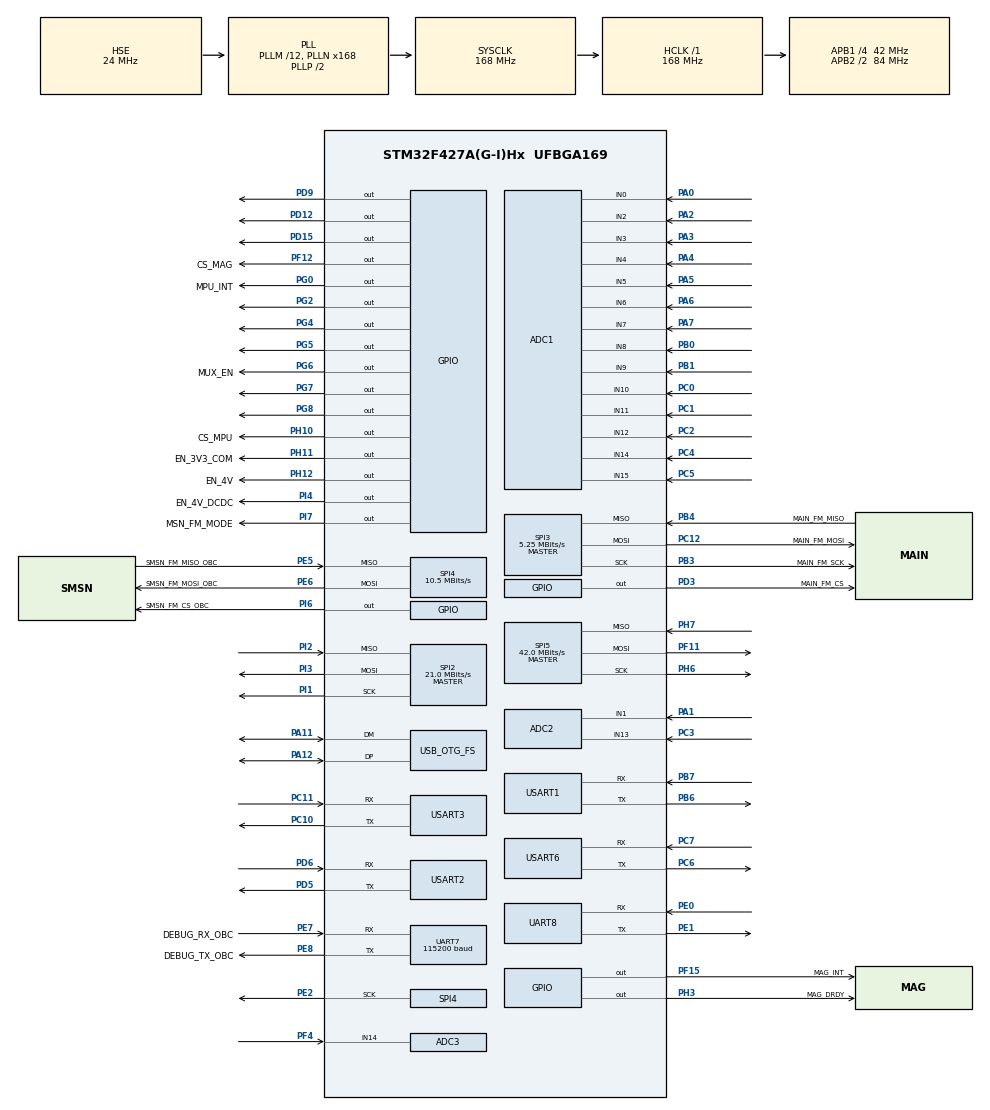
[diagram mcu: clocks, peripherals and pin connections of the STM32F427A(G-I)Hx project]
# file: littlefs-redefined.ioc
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ADC1.Channel-0\#ChannelRegularConversion=ADC_CHANNEL_0
ADC1.NbrOfConversionFlag=1
ADC1.Rank-0\#ChannelRegularConversion=1
ADC1.SamplingTime-0\#ChannelRegularConversion=ADC_SAMPLETIME_3CYCLES
ADC1.master=1
ADC2.Channel-0\#ChannelRegularConversion=ADC_CHANNEL_3
ADC2.NbrOfConversionFlag=1
ADC2.Rank-0\#ChannelRegularConversion=1
ADC2.SamplingTime-0\#ChannelRegularConversion=ADC_SAMPLETIME_3CYCLES
ADC3.Channel-0\#ChannelRegularConversion=ADC_CHANNEL_14
ADC3.NbrOfConversionFlag=1
ADC3.Rank-0\#ChannelRegularConversion=1
ADC3.SamplingTime-0\#ChannelRegularConversion=ADC_SAMPLETIME_3CYCLES
Dma.ADC1.3.Direction=DMA_PERIPH_TO_MEMORY
Dma.ADC1.3.FIFOMode=DMA_FIFOMODE_DISABLE
Dma.ADC1.3.Instance=DMA2_Stream4
Dma.ADC1.3.MemDataAlignment=DMA_MDATAALIGN_HALFWORD
Dma.ADC1.3.MemInc=DMA_MINC_ENABLE
Dma.ADC1.3.Mode=DMA_NORMAL
Dma.ADC1.3.PeriphDataAlignment=DMA_PDATAALIGN_HALFWORD
Dma.ADC1.3.PeriphInc=DMA_PINC_DISABLE
Dma.ADC1.3.Priority=DMA_PRIORITY_LOW
Dma.ADC2.2.Direction=DMA_PERIPH_TO_MEMORY
Dma.ADC2.2.FIFOMode=DMA_FIFOMODE_DISABLE
Dma.ADC2.2.Instance=DMA2_Stream2
Dma.ADC2.2.MemDataAlignment=DMA_MDATAALIGN_HALFWORD
Dma.ADC2.2.MemInc=DMA_MINC_ENABLE
Dma.ADC2.2.Mode=DMA_NORMAL
Dma.ADC2.2.PeriphDataAlignment=DMA_PDATAALIGN_HALFWORD
Dma.ADC2.2.PeriphInc=DMA_PINC_DISABLE
Dma.ADC2.2.Priority=DMA_PRIORITY_LOW
Dma.ADC3.4.Direction=DMA_PERIPH_TO_MEMORY
Dma.ADC3.4.FIFOMode=DMA_FIFOMODE_DISABLE
Dma.ADC3.4.Instance=DMA2_Stream0
Dma.ADC3.4.MemDataAlignment=DMA_MDATAALIGN_HALFWORD
Dma.ADC3.4.MemInc=DMA_MINC_ENABLE
Dma.ADC3.4.Mode=DMA_NORMAL
Dma.ADC3.4.PeriphDataAlignment=DMA_PDATAALIGN_HALFWORD
Dma.ADC3.4.PeriphInc=DMA_PINC_DISABLE
Dma.ADC3.4.Priority=DMA_PRIORITY_LOW
Dma.Request0=TIM6_UP
Dma.Request1=TIM7_UP
Dma.Request10=SPI3_RX
Dma.Request11=SPI3_TX
Dma.Request12=USART6_TX
Dma.Request13=USART1_RX
Dma.Request14=USART1_TX
Dma.Request15=USART2_RX
Dma.Request2=ADC2
Dma.Request3=ADC1
Dma.Request4=ADC3
Dma.Request5=UART8_RX
Dma.Request6=UART8_TX
Dma.Request7=UART7_RX
Dma.Request8=SPI4_RX
Dma.Request9=SPI4_TX
Dma.SPI3_RX.10.Direction=DMA_PERIPH_TO_MEMORY
Dma.SPI3_RX.10.FIFOMode=DMA_FIFOMODE_DISABLE
Dma.SPI3_RX.10.Instance=DMA1_Stream2
Dma.SPI3_RX.10.MemDataAlignment=DMA_MDATAALIGN_BYTE
Dma.SPI3_RX.10.MemInc=DMA_MINC_ENABLE
Dma.SPI3_RX.10.Mode=DMA_NORMAL
Dma.SPI3_RX.10.PeriphDataAlignment=DMA_PDATAALIGN_BYTE
Dma.SPI3_RX.10.PeriphInc=DMA_PINC_DISABLE
Dma.SPI3_RX.10.Priority=DMA_PRIORITY_LOW
Dma.SPI3_TX.11.Direction=DMA_MEMORY_TO_PERIPH
Dma.SPI3_TX.11.FIFOMode=DMA_FIFOMODE_DISABLE
Dma.SPI3_TX.11.Instance=DMA1_Stream7
Dma.SPI3_TX.11.MemDataAlignment=DMA_MDATAALIGN_BYTE
Dma.SPI3_TX.11.MemInc=DMA_MINC_ENABLE
Dma.SPI3_TX.11.Mode=DMA_NORMAL
Dma.SPI3_TX.11.PeriphDataAlignment=DMA_PDATAALIGN_BYTE
Dma.SPI3_TX.11.PeriphInc=DMA_PINC_DISABLE
Dma.SPI3_TX.11.Priority=DMA_PRIORITY_LOW
Dma.SPI4_RX.8.Direction=DMA_PERIPH_TO_MEMORY
Dma.SPI4_RX.8.FIFOMode=DMA_FIFOMODE_DISABLE
Dma.SPI4_RX.8.Instance=DMA2_Stream3
Dma.SPI4_RX.8.MemDataAlignment=DMA_MDATAALIGN_BYTE
Dma.SPI4_RX.8.MemInc=DMA_MINC_ENABLE
Dma.SPI4_RX.8.Mode=DMA_NORMAL
Dma.SPI4_RX.8.PeriphDataAlignment=DMA_PDATAALIGN_BYTE
Dma.SPI4_RX.8.PeriphInc=DMA_PINC_DISABLE
Dma.SPI4_RX.8.Priority=DMA_PRIORITY_LOW
Dma.SPI4_TX.9.Direction=DMA_MEMORY_TO_PERIPH
Dma.SPI4_TX.9.FIFOMode=DMA_FIFOMODE_DISABLE
Dma.SPI4_TX.9.Instance=DMA2_Stream1
Dma.SPI4_TX.9.MemDataAlignment=DMA_MDATAALIGN_BYTE
Dma.SPI4_TX.9.MemInc=DMA_MINC_ENABLE
Dma.SPI4_TX.9.Mode=DMA_NORMAL
Dma.SPI4_TX.9.PeriphDataAlignment=DMA_PDATAALIGN_BYTE
Dma.SPI4_TX.9.PeriphInc=DMA_PINC_DISABLE
Dma.SPI4_TX.9.Priority=DMA_PRIORITY_LOW
Dma.TIM6_UP.0.Direction=DMA_PERIPH_TO_MEMORY
Dma.TIM6_UP.0.FIFOMode=DMA_FIFOMODE_DISABLE
Dma.TIM6_UP.0.Instance=DMA1_Stream1
Dma.TIM6_UP.0.MemDataAlignment=DMA_MDATAALIGN_HALFWORD
Dma.TIM6_UP.0.MemInc=DMA_MINC_ENABLE
Dma.TIM6_UP.0.Mode=DMA_NORMAL
Dma.TIM6_UP.0.PeriphDataAlignment=DMA_PDATAALIGN_HALFWORD
Dma.TIM6_UP.0.PeriphInc=DMA_PINC_DISABLE
Dma.TIM6_UP.0.Priority=DMA_PRIORITY_LOW
Dma.TIM7_UP.1.Direction=DMA_PERIPH_TO_MEMORY
Dma.TIM7_UP.1.FIFOMode=DMA_FIFOMODE_DISABLE
Dma.TIM7_UP.1.Instance=DMA1_Stream4
Dma.TIM7_UP.1.MemDataAlignment=DMA_MDATAALIGN_HALFWORD
Dma.TIM7_UP.1.MemInc=DMA_MINC_ENABLE
Dma.TIM7_UP.1.Mode=DMA_NORMAL
Dma.TIM7_UP.1.PeriphDataAlignment=DMA_PDATAALIGN_HALFWORD
Dma.TIM7_UP.1.PeriphInc=DMA_PINC_DISABLE
Dma.TIM7_UP.1.Priority=DMA_PRIORITY_LOW
Dma.UART7_RX.7.Direction=DMA_PERIPH_TO_MEMORY
Dma.UART7_RX.7.FIFOMode=DMA_FIFOMODE_DISABLE
Dma.UART7_RX.7.Instance=DMA1_Stream3
Dma.UART7_RX.7.MemDataAlignment=DMA_MDATAALIGN_BYTE
Dma.UART7_RX.7.MemInc=DMA_MINC_ENABLE
Dma.UART7_RX.7.Mode=DMA_NORMAL
Dma.UART7_RX.7.PeriphDataAlignment=DMA_PDATAALIGN_BYTE
Dma.UART7_RX.7.PeriphInc=DMA_PINC_DISABLE
Dma.UART7_RX.7.Priority=DMA_PRIORITY_LOW
Dma.UART8_RX.5.Direction=DMA_PERIPH_TO_MEMORY
Dma.UART8_RX.5.FIFOMode=DMA_FIFOMODE_DISABLE
Dma.UART8_RX.5.Instance=DMA1_Stream6
Dma.UART8_RX.5.MemDataAlignment=DMA_MDATAALIGN_BYTE
Dma.UART8_RX.5.MemInc=DMA_MINC_ENABLE
Dma.UART8_RX.5.Mode=DMA_NORMAL
Dma.UART8_RX.5.PeriphDataAlignment=DMA_PDATAALIGN_BYTE
Dma.UART8_RX.5.PeriphInc=DMA_PINC_DISABLE
Dma.UART8_RX.5.Priority=DMA_PRIORITY_LOW
Dma.UART8_TX.6.Direction=DMA_MEMORY_TO_PERIPH
Dma.UART8_TX.6.FIFOMode=DMA_FIFOMODE_DISABLE
Dma.UART8_TX.6.Instance=DMA1_Stream0
Dma.UART8_TX.6.MemDataAlignment=DMA_MDATAALIGN_BYTE
Dma.UART8_TX.6.MemInc=DMA_MINC_ENABLE
Dma.UART8_TX.6.Mode=DMA_NORMAL
Dma.UART8_TX.6.PeriphDataAlignment=DMA_PDATAALIGN_BYTE
Dma.UART8_TX.6.PeriphInc=DMA_PINC_DISABLE
Dma.UART8_TX.6.Priority=DMA_PRIORITY_LOW
Dma.USART1_RX.13.Direction=DMA_PERIPH_TO_MEMORY
Dma.USART1_RX.13.FIFOMode=DMA_FIFOMODE_DISABLE
Dma.USART1_RX.13.Instance=DMA2_Stream5
Dma.USART1_RX.13.MemDataAlignment=DMA_MDATAALIGN_BYTE
Dma.USART1_RX.13.MemInc=DMA_MINC_ENABLE
Dma.USART1_RX.13.Mode=DMA_NORMAL
Dma.USART1_RX.13.PeriphDataAlignment=DMA_PDATAALIGN_BYTE
Dma.USART1_RX.13.PeriphInc=DMA_PINC_DISABLE
Dma.USART1_RX.13.Priority=DMA_PRIORITY_LOW
Dma.USART1_TX.14.Direction=DMA_MEMORY_TO_PERIPH
Dma.USART1_TX.14.FIFOMode=DMA_FIFOMODE_DISABLE
Dma.USART1_TX.14.Instance=DMA2_Stream7
Dma.USART1_TX.14.MemDataAlignment=DMA_MDATAALIGN_BYTE
Dma.USART1_TX.14.MemInc=DMA_MINC_ENABLE
Dma.USART1_TX.14.Mode=DMA_NORMAL
Dma.USART1_TX.14.PeriphDataAlignment=DMA_PDATAALIGN_BYTE
Dma.USART1_TX.14.PeriphInc=DMA_PINC_DISABLE
Dma.USART1_TX.14.Priority=DMA_PRIORITY_LOW
Dma.USART2_RX.15.Direction=DMA_PERIPH_TO_MEMORY
Dma.USART2_RX.15.FIFOMode=DMA_FIFOMODE_DISABLE
Dma.USART2_RX.15.Instance=DMA1_Stream5
Dma.USART2_RX.15.MemDataAlignment=DMA_MDATAALIGN_BYTE
Dma.USART2_RX.15.MemInc=DMA_MINC_ENABLE
Dma.USART2_RX.15.Mode=DMA_NORMAL
Dma.USART2_RX.15.PeriphDataAlignment=DMA_PDATAALIGN_BYTE
Dma.USART2_RX.15.PeriphInc=DMA_PINC_DISABLE
Dma.USART2_RX.15.Priority=DMA_PRIORITY_LOW
Dma.USART6_TX.12.Direction=DMA_MEMORY_TO_PERIPH
Dma.USART6_TX.12.FIFOMode=DMA_FIFOMODE_DISABLE
Dma.USART6_TX.12.Instance=DMA2_Stream6
Dma.USART6_TX.12.MemDataAlignment=DMA_MDATAALIGN_BYTE
Dma.USART6_TX.12.MemInc=DMA_MINC_ENABLE
Dma.USART6_TX.12.Mode=DMA_NORMAL
Dma.USART6_TX.12.PeriphDataAlignment=DMA_PDATAALIGN_BYTE
Dma.USART6_TX.12.PeriphInc=DMA_PINC_DISABLE
Dma.USART6_TX.12.Priority=DMA_PRIORITY_LOW
Mcu.Family=STM32F4
Mcu.Name=STM32F427A(G-I)Hx
Mcu.Package=UFBGA169
NVIC.ADC_IRQn=true\:0\:0\:false\:false\:true\:true\:true
NVIC.DMA1_Stream0_IRQn=true\:0\:0\:false\:false\:true\:false\:true
NVIC.DMA1_Stream1_IRQn=true\:0\:0\:false\:false\:true\:false\:true
NVIC.DMA1_Stream2_IRQn=true\:0\:0\:false\:false\:true\:false\:true
NVIC.DMA1_Stream3_IRQn=true\:0\:0\:false\:false\:true\:false\:true
NVIC.DMA1_Stream4_IRQn=true\:0\:0\:false\:false\:true\:false\:true
NVIC.DMA1_Stream5_IRQn=true\:0\:0\:false\:false\:true\:false\:true
NVIC.DMA1_Stream6_IRQn=true\:0\:0\:false\:false\:true\:false\:true
NVIC.DMA1_Stream7_IRQn=true\:0\:0\:false\:false\:true\:false\:true
NVIC.DMA2_Stream0_IRQn=true\:0\:0\:false\:false\:true\:false\:true
NVIC.DMA2_Stream1_IRQn=true\:0\:0\:false\:false\:true\:false\:true
NVIC.DMA2_Stream2_IRQn=true\:0\:0\:false\:false\:true\:false\:true
NVIC.DMA2_Stream3_IRQn=true\:0\:0\:false\:false\:true\:false\:true
NVIC.DMA2_Stream4_IRQn=true\:0\:0\:false\:false\:true\:false\:true
NVIC.DMA2_Stream5_IRQn=true\:0\:0\:false\:false\:true\:false\:true
NVIC.DMA2_Stream6_IRQn=true\:0\:0\:false\:false\:true\:false\:true
NVIC.DMA2_Stream7_IRQn=true\:0\:0\:false\:false\:true\:false\:true
NVIC.OTG_FS_IRQn=true\:0\:0\:false\:false\:true\:false\:true
NVIC.PriorityGroup=NVIC_PRIORITYGROUP_4
NVIC.SPI3_IRQn=true\:0\:0\:false\:false\:true\:true\:true
NVIC.SPI4_IRQn=true\:0\:0\:false\:false\:true\:true\:true
NVIC.SPI5_IRQn=true\:0\:0\:false\:false\:true\:true\:true
NVIC.TIM6_DAC_IRQn=true\:0\:0\:false\:false\:true\:true\:true
NVIC.TIM7_IRQn=true\:0\:0\:false\:false\:true\:true\:true
NVIC.UART7_IRQn=true\:0\:0\:false\:false\:true\:true\:true
NVIC.UART8_IRQn=true\:0\:0\:false\:false\:true\:true\:true
NVIC.USART1_IRQn=true\:0\:0\:false\:false\:true\:true\:true
NVIC.USART2_IRQn=true\:0\:0\:false\:false\:true\:true\:true
NVIC.USART3_IRQn=true\:0\:0\:false\:false\:true\:true\:true
NVIC.USART6_IRQn=true\:0\:0\:false\:false\:true\:true\:true
PA0/WKUP.Signal=ADCx_IN0
PA1.Signal=ADCx_IN1
PA11.Mode=Device_Only
PA11.Signal=USB_OTG_FS_DM
PA12.Mode=Device_Only
PA12.Signal=USB_OTG_FS_DP
PA13.Mode=Serial_Wire
PA13.Signal=SYS_JTMS-SWDIO
PA14.Mode=Serial_Wire
PA14.Signal=SYS_JTCK-SWCLK
PA2.Signal=ADCx_IN2
PA3.Signal=ADCx_IN3
PA4.Signal=ADCx_IN4
PA5.Signal=ADCx_IN5
PA6.Signal=ADCx_IN6
PA7.Signal=ADCx_IN7
PB0.Signal=ADCx_IN8
PB1.Signal=ADCx_IN9
PB3.GPIO_Label=MAIN_FM_SCK
PB3.Mode=Full_Duplex_Master
PB3.Signal=SPI3_SCK
PB4.GPIO_Label=MAIN_FM_MISO
PB4.Mode=Full_Duplex_Master
PB4.Signal=SPI3_MISO
PB6.Mode=Asynchronous
PB6.Signal=USART1_TX
PB7.Mode=Asynchronous
PB7.Signal=USART1_RX
PC0.Signal=ADCx_IN10
PC1.Signal=ADCx_IN11
PC10.Mode=Asynchronous
PC10.Signal=USART3_TX
PC11.Mode=Asynchronous
PC11.Signal=USART3_RX
PC12.GPIO_Label=MAIN_FM_MOSI
PC12.Mode=Full_Duplex_Master
PC12.Signal=SPI3_MOSI
PC14/OSC32_IN.Mode=LSE-External-Oscillator
PC14/OSC32_IN.Signal=RCC_OSC32_IN
PC15/OSC32_OUT.Mode=LSE-External-Oscillator
PC15/OSC32_OUT.Signal=RCC_OSC32_OUT
PC2.Signal=ADCx_IN12
PC3.Signal=ADCx_IN13
PC4.Signal=ADCx_IN14
PC5.Signal=ADCx_IN15
PC6.Mode=Asynchronous
PC6.Signal=USART6_TX
PC7.Mode=Asynchronous
PC7.Signal=USART6_RX
PD12.Signal=GPIO_Output
PD15.Signal=GPIO_Output
PD3.GPIO_Label=MAIN_FM_CS
PD3.Signal=GPIO_Output
PD5.Mode=Asynchronous
PD5.Signal=USART2_TX
PD6.Mode=Asynchronous
PD6.Signal=USART2_RX
PD9.Signal=GPIO_Output
PE0.Mode=Asynchronous
PE0.Signal=UART8_RX
PE1.Mode=Asynchronous
PE1.Signal=UART8_TX
PE2.Mode=Full_Duplex_Master
PE2.Signal=SPI4_SCK
PE5.GPIO_Label=SMSN_FM_MISO_OBC
PE5.Mode=Full_Duplex_Master
PE5.Signal=SPI4_MISO
PE6.GPIO_Label=SMSN_FM_MOSI_OBC
PE6.Mode=Full_Duplex_Master
PE6.Signal=SPI4_MOSI
PE7.GPIO_Label=DEBUG_RX_OBC
PE7.Mode=Asynchronous
PE7.Signal=UART7_RX
PE8.GPIO_Label=DEBUG_TX_OBC
PE8.Mode=Asynchronous
PE8.Signal=UART7_TX
PF11.Mode=Full_Duplex_Master
PF11.Signal=SPI5_MOSI
PF12.GPIO_Label=CS_MAG
PF12.Signal=GPIO_Output
PF15.GPIO_Label=MAG_INT
PF15.Signal=GPIO_Output
PF4.Mode=IN14
PF4.Signal=ADC3_IN14
PG0.GPIO_Label=MPU_INT
PG0.Signal=GPIO_Output
PG2.Signal=GPIO_Output
PG4.Signal=GPIO_Output
PG5.Signal=GPIO_Output
PG6.GPIO_Label=MUX_EN
PG6.Signal=GPIO_Output
PG7.Signal=GPIO_Output
PG8.Signal=GPIO_Output
PH0/OSC_IN.Mode=HSE-External-Oscillator
PH0/OSC_IN.Signal=RCC_OSC_IN
PH1/OSC_OUT.Mode=HSE-External-Oscillator
PH1/OSC_OUT.Signal=RCC_OSC_OUT
PH10.GPIO_Label=CS_MPU
PH10.Signal=GPIO_Output
PH11.GPIO_Label=EN_3V3_COM
PH11.Signal=GPIO_Output
PH12.GPIO_Label=EN_4V
PH12.Signal=GPIO_Output
PH3.GPIO_Label=MAG_DRDY
PH3.Signal=GPIO_Output
PH6.Mode=Full_Duplex_Master
PH6.Signal=SPI5_SCK
PH7.Mode=Full_Duplex_Master
PH7.Signal=SPI5_MISO
PI1.Mode=Full_Duplex_Master
PI1.Signal=SPI2_SCK
PI2.Mode=Full_Duplex_Master
PI2.Signal=SPI2_MISO
PI3.Mode=Full_Duplex_Master
PI3.Signal=SPI2_MOSI
PI4.GPIO_Label=EN_4V_DCDC
PI4.Signal=GPIO_Output
PI6.GPIO_Label=SMSN_FM_CS_OBC
PI6.Signal=GPIO_Output
PI7.GPIO_Label=MSN_FM_MODE
PI7.Signal=GPIO_Output
ProjectManager.HeapSize=0x200
ProjectManager.StackSize=0x400
ProjectManager.TargetToolchain=STM32CubeIDE
RCC.48MHZClocksFreq_Value=48000000
RCC.AHBFreq_Value=168000000
RCC.APB1CLKDivider=RCC_HCLK_DIV4
RCC.APB1Freq_Value=42000000
RCC.APB1TimFreq_Value=84000000
RCC.APB2CLKDivider=RCC_HCLK_DIV2
RCC.APB2Freq_Value=84000000
RCC.APB2TimFreq_Value=168000000
RCC.CortexFreq_Value=168000000
RCC.HCLKFreq_Value=168000000
RCC.HSE_VALUE=24000000
RCC.HSI_VALUE=16000000
RCC.PLLM=12
RCC.PLLN=168
RCC.PLLQ=7
RCC.SYSCLKFreq_VALUE=168000000
RCC.SYSCLKSource=RCC_SYSCLKSOURCE_PLLCLK
RCC.VCOOutputFreq_Value=336000000
SH.ADCx_IN0.0=ADC1_IN0,IN0
SH.ADCx_IN0.1=ADC2_IN0,IN0
SH.ADCx_IN0.2=ADC3_IN0,IN0
SH.ADCx_IN1.0=ADC2_IN1,IN1
SH.ADCx_IN1.1=ADC1_IN1,IN1
SH.ADCx_IN1.2=ADC3_IN1,IN1
SH.ADCx_IN10.0=ADC1_IN10,IN10
SH.ADCx_IN10.1=ADC2_IN10,IN10
SH.ADCx_IN10.2=ADC3_IN10,IN10
SH.ADCx_IN11.0=ADC1_IN11,IN11
SH.ADCx_IN11.1=ADC2_IN11,IN11
SH.ADCx_IN11.2=ADC3_IN11,IN11
SH.ADCx_IN12.0=ADC1_IN12,IN12
SH.ADCx_IN12.1=ADC2_IN12,IN12
SH.ADCx_IN12.2=ADC3_IN12,IN12
SH.ADCx_IN13.0=ADC2_IN13,IN13
SH.ADCx_IN13.1=ADC1_IN13,IN13
SH.ADCx_IN14.0=ADC1_IN14,IN14
SH.ADCx_IN14.1=ADC2_IN14,IN14
SH.ADCx_IN15.0=ADC1_IN15,IN15
SH.ADCx_IN15.1=ADC2_IN15,IN15
SH.ADCx_IN2.0=ADC1_IN2,IN2
SH.ADCx_IN2.1=ADC2_IN2,IN2
SH.ADCx_IN2.2=ADC3_IN2,IN2
SH.ADCx_IN3.0=ADC1_IN3,IN3
SH.ADCx_IN3.1=ADC2_IN3,IN3
SH.ADCx_IN3.2=ADC3_IN3,IN3
SH.ADCx_IN4.0=ADC1_IN4,IN4
SH.ADCx_IN4.1=ADC2_IN4,IN4
SH.ADCx_IN5.0=ADC1_IN5,IN5
SH.ADCx_IN5.1=ADC2_IN5,IN5
SH.ADCx_IN6.0=ADC1_IN6,IN6
SH.ADCx_IN6.1=ADC2_IN6,IN6
SH.ADCx_IN7.0=ADC1_IN7,IN7
SH.ADCx_IN7.1=ADC2_IN7,IN7
SH.ADCx_IN8.0=ADC1_IN8,IN8
SH.ADCx_IN8.1=ADC2_IN8,IN8
SH.ADCx_IN9.0=ADC1_IN9,IN9
SH.ADCx_IN9.1=ADC2_IN9,IN9
SPI2.CalculateBaudRate=21.0 MBits/s
SPI2.Direction=SPI_DIRECTION_2LINES
SPI2.Mode=SPI_MODE_MASTER
SPI2.VirtualType=VM_MASTER
SPI3.BaudRatePrescaler=SPI_BAUDRATEPRESCALER_8
SPI3.CalculateBaudRate=5.25 MBits/s
SPI3.Direction=SPI_DIRECTION_2LINES
SPI3.Mode=SPI_MODE_MASTER
SPI3.VirtualType=VM_MASTER
SPI4.BaudRatePrescaler=SPI_BAUDRATEPRESCALER_8
SPI4.CalculateBaudRate=10.5 MBits/s
SPI4.Direction=SPI_DIRECTION_2LINES
SPI4.Mode=SPI_MODE_MASTER
SPI4.VirtualType=VM_MASTER
SPI5.CalculateBaudRate=42.0 MBits/s
SPI5.Direction=SPI_DIRECTION_2LINES
SPI5.Mode=SPI_MODE_MASTER
SPI5.VirtualType=VM_MASTER
TIM6.Period=10000-1
TIM6.Prescaler=8400-1
TIM7.Period=30000-1
TIM7.Prescaler=8400-1
UART7.BaudRate=115200
UART7.VirtualMode=Asynchronous
UART8.VirtualMode=Asynchronous
USART1.VirtualMode=VM_ASYNC
USART2.VirtualMode=VM_ASYNC
USART3.VirtualMode=VM_ASYNC
USART6.VirtualMode=VM_ASYNC
USB_DEVICE.CLASS_NAME_FS=CDC
USB_DEVICE.VirtualMode-CDC_FS=Cdc
USB_DEVICE.VirtualModeFS=Cdc_FS
USB_OTG_FS.VirtualMode=Device_Only
VP_ADC1_TempSens_Input.Mode=IN-TempSens
VP_TIM6_VS_ClockSourceINT.Mode=Enable_Timer
VP_TIM7_VS_ClockSourceINT.Mode=Enable_Timer
VP_USB_DEVICE_VS_USB_DEVICE_CDC_FS.Mode=CDC_FS
board=custom

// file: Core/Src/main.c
/* USER CODE BEGIN Header */
/**
  ******************************************************************************
  * @file           : main.c
  * @brief          : Main program body
  ******************************************************************************
  * @attention
  *
  * <h2><center>&copy; Copyright (c) 2024 STMicroelectronics.
  * All rights reserved.</center></h2>
  *
  * This software component is licensed by ST under Ultimate Liberty license
  * SLA0044, the "License"; You may not use this file except in compliance with
  * the License. You may obtain a copy of the License at:
  *                             www.st.com/SLA0044
  *
  ******************************************************************************
  */
/* USER CODE END Header */
#include "main.h"
#include "adc.h"
#include "dma.h"
#include "spi.h"
#include "tim.h"
#include "usart.h"
#include "usb_device.h"
#include "gpio.h"

/* USER CODE BEGIN Includes */
#include "stdarg.h"
#include "lfs_util.h"
#include "lfs.h"
//#include "MT25Q.h"
#include "nor.h"
#include "../../IMU/imu.h"
#include "command_parser.h"
/* USER CODE END Includes */

/* USER CODE BEGIN PD */
#define sector_size 32
/* USER CODE END PD */

/* USER CODE BEGIN PM */
//void myprintf(const char *fmt, ...);
/* USER CODE END PM */

/* USER CODE BEGIN PV */
ADC_HandleTypeDef hadc1;
ADC_HandleTypeDef hadc3;

SPI_HandleTypeDef hspi3;
SPI_HandleTypeDef hspi4;

UART_HandleTypeDef huart7;
UART_HandleTypeDef huart1;

/* USER CODE BEGIN PV */
//uint8_t tx[]={'S','A','N','G','A','M'};
HAL_StatusTypeDef catch;
uint8_t HANDSHAKE_STATUS = 0;
uint8_t COM_RX_DATA[30];
uint16_t adc_buf[17];
float adc_conv_buf[17];

uint8_t hk_counter=0;
uint16_t tim_val = 0;
uint16_t address = 0x00;
uint8_t status_reg=0;
uint8_t READ_FLAG=0;
int tx[70];

uint8_t DEBUG_DATA_RX_FLAG = 0;
// variables used by the filesystem
typedef struct{
	uint32_t secCount;
	uint32_t bootCount;
}app_count_t;
	lfs_file_t File,File2[2];
		char Text[20];
		app_count_t Counter = {0};
		lfs_t Lfs,Lfs2[2];
		nor_t Nor;
		uint16_t adc_channels[17] = {'66535'};
		uint16_t adc1_channels[17] = {'66535'};

/* USER CODE END PV */

void SystemClock_Config(void);
/* USER CODE BEGIN PFP */
void read_file_from_littlefs(lfs_t *lfs, const char *filename) {
    lfs_file_t file;
    HAL_UART_Transmit(&huart7, filename,sizeof(filename),1000);
    // Open the file for reading
    int err = lfs_file_open(lfs, &file, filename, LFS_O_RDONLY);
    if (err < 0) {
        printf("Failed to open file: %s\n", filename);
        return;
    }

    // Get the file size
    lfs_soff_t file_size = lfs_file_size(lfs, &file);
    if (file_size < 0) {
        printf("Failed to get file size for: %s\n", filename);
        lfs_file_close(lfs, &file);
        return;
    }

    // Allocate a buffer to hold the file data
    float *buffer = malloc(file_size);
    if (buffer == NULL) {
        printf("Failed to allocate buffer for reading file: %s\n", filename);
        lfs_file_close(lfs, &file);
        return;
    }

    // Read the file content into the buffer
    lfs_ssize_t bytes_read = lfs_file_read(lfs, &file, buffer, file_size);
    if (bytes_read < 0) {
        printf("Failed to read file: %s\n", filename);
    } else {
    	char x;
        // Successfully read the file, print its content (if it's text data)
        HAL_UART_Transmit(&huart7, buffer, (int)bytes_read,1000);
        for(int i=0;i<(int) bytes_read;){
//        	printf(buffer[i]);
        	x=buffer[i];
        	i++;
        }

        printf("File Content (%s):\n%.*s\n", filename, (int)bytes_read, buffer);
    }

    // Clean up
    free(buffer);
    lfs_file_close(lfs, &file);
}

volatile uint8_t DmaEnd = 0;

void HAL_SPI_TxCpltCallback(SPI_HandleTypeDef *hspi){
	DmaEnd = 1;
}

void HAL_SPI_RxCpltCallback(SPI_HandleTypeDef *hspi){
	DmaEnd = 1;
}

void nor_delay_us(uint32_t us){
//	if (us >= __HAL_TIM_GET_AUTORELOAD(&htim2)){
//		us = __HAL_TIM_GET_AUTORELOAD(&htim2) - 1;
//	}
//	__HAL_TIM_SET_COUNTER(&htim2, 0);
//	HAL_TIM_Base_Start(&htim2);
//	while (__HAL_TIM_GET_COUNTER(&htim2) < us);
//	HAL_TIM_Base_Stop(&htim2);
	HAL_Delay(1000);
}

void nor_cs_assert(){
	HAL_GPIO_WritePin(GPIOD, GPIO_PIN_3, GPIO_PIN_RESET);
}

void nor_cs_deassert(){
	HAL_GPIO_WritePin(GPIOD, GPIO_PIN_3, GPIO_PIN_SET);
}

void nor_spi_tx(uint8_t *pData, uint32_t Size){
//	HAL_SPI_Transmit(&hspi3, pData, Size, 100);
	DmaEnd = 0;
	HAL_SPI_Transmit(&hspi3, pData, Size, 1000);
//	while (DmaEnd == 0);
}

void nor_spi_rx(uint8_t *pData, uint32_t Size){
//	HAL_SPI_Receive(&hspi3, pData, Size, 100);
	DmaEnd = 0;
	HAL_SPI_Receive(&hspi3, pData, Size, 1000);
//	DmaEnd =0;
//	while (DmaEnd == 0);
}

void __init_nor(){
	Nor.config.CsAssert = nor_cs_assert;
	Nor.config.CsDeassert = nor_cs_deassert;
	Nor.config.DelayUs = nor_delay_us;
	Nor.config.SpiRxFxn = nor_spi_rx;
	Nor.config.SpiTxFxn = nor_spi_tx;

	if (NOR_Init(&Nor) != NOR_OK){ //NOR_Init
		Error_Handler();
	}
}

/** Start LittleFs **/

int _fs_read(const struct lfs_config *c, lfs_block_t block,
            lfs_off_t off, void *buffer, lfs_size_t size){

	if (NOR_ReadSector(&Nor, (uint8_t*)buffer, block, off, size) == NOR_OK){
		return 0;
	}

	return LFS_ERR_IO;
}

int _fs_write(const struct lfs_config *c, lfs_block_t block,
        lfs_off_t off, const void *buffer, lfs_size_t size){

	if (NOR_WriteSector(&Nor, (uint8_t*)buffer, block, off, size) == NOR_OK){
		return 0;
	}

	return LFS_ERR_IO;
}

int _fs_erase(const struct lfs_config *c, lfs_block_t block){
	if (NOR_EraseSector(&Nor, block) == NOR_OK){
		return 0;
	}

	return LFS_ERR_IO;
}

int _fs_sync(const struct lfs_config *c){
	return 0;
}

// Function to list all files and directories in the filesystem
void list_files(lfs_t *lfs) {
    lfs_dir_t dir;
    struct lfs_info info;

    // Open the root directory
    int err = lfs_dir_open(lfs, &dir, "/");
    if (err) {
        printf("Failed to open directory\n");
        return;
    }

    // Loop through all files in the directory
    while (true) {
        err = lfs_dir_read(lfs, &dir, &info);
        if (err < 0) {
            printf("Failed to read directory\n");
            break;
        }

        // If no more files, break
        if (err == 0) {
            break;
        }
        uint8_t dir[100];
        // Print the type and name of the file
        if (info.type == LFS_TYPE_REG) {
            sprintf(dir,"File: %s\n\0", info.name);
            HAL_UART_Transmit(&huart7, dir, strlen(dir),1000);
        } else if (info.type == LFS_TYPE_DIR) {
        	sprintf(dir,"Directory: %s\n\0", info.name);

            HAL_UART_Transmit(&huart7, dir, strlen(dir),1000);
        }
    }

    // Close the directory
    lfs_dir_close(lfs, &dir);
}

void __init_littefs(){
	// because of static qualifier, this variable
	// will have a dedicated address
	static struct lfs_config LfsConfig = {0};
		int Error;

		LfsConfig.read_size = 256;
		LfsConfig.prog_size = 256;
		LfsConfig.block_size = Nor.info.u16SectorSize;
		LfsConfig.block_count =  16384;//Nor.info.u32SectorCount;
		LfsConfig.cache_size = Nor.info.u16PageSize;
		LfsConfig.lookahead_size = 256;//Nor.info.u32SectorCount/8;
		LfsConfig.block_cycles = 15000;

		LfsConfig.read = _fs_read;
		LfsConfig.prog = _fs_write;
		LfsConfig.erase = _fs_erase;
		LfsConfig.sync = _fs_sync;

		Error = lfs_mount(&Lfs, &LfsConfig);
		if (Error != LFS_ERR_OK){
			lfs_format(&Lfs, &LfsConfig);
			Error = lfs_mount(&Lfs, &LfsConfig);
			if (Error != LFS_ERR_OK){
				Error_Handler();
			}
		}

}

#define PATH_MAX_LEN 256

// Recursive function to list files and directories with full paths
void list_files_with_size(lfs_t *lfs, const char *path) {
    lfs_dir_t dir;
    struct lfs_info info;

    // Open the directory at the given path
    int err = lfs_dir_open(lfs, &dir, path);
    if (err) {
        printf("Failed to open directory: %s\n", path);
        return;
    }

    // Loop through all files in the directory
    while (true) {
        err = lfs_dir_read(lfs, &dir, &info);
        if (err < 0) {
            printf("Failed to read directory: %s\n", path);
            break;
        }

        // If no more files, break
        if (err == 0) {
            break;
        }

        // Build the full path for the current file/directory
        char full_path[PATH_MAX_LEN];
        snprintf(full_path, sizeof(full_path), "%s/%s", path, info.name);
        char pa[500];
        // Check if the entry is a file or directory
        if (info.type == LFS_TYPE_REG) {
            sprintf(pa,"File: %s, Size: %ld bytes\n", full_path, info.size);
            HAL_UART_Transmit(&huart7, pa, strlen(pa),1000);
        } else if (info.type == LFS_TYPE_DIR && strcmp(info.name, ".") != 0 && strcmp(info.name, "..") != 0) {
            sprintf(pa,"Directory: %s\n", full_path);
            HAL_UART_Transmit(&huart7, pa, strlen(pa),1000);
            // Recursively list the contents of the directory
            list_files_with_size(lfs, full_path);
        }
    }

    // Close the directory
    lfs_dir_close(lfs, &dir);
}
void __init_storage(){
	__init_nor();
	__init_littefs();
}

void HAL_TIM_PeriodElapsedCallback(TIM_HandleTypeDef *htim)
{
  // Check which version of the timer triggered this callback and toggle LED
  if (htim == &htim6 )
  {
//    HAL_UART_Transmit(&huart7, "\nCounter is : ", sizeof("\nCounter is : "), 100);
    tim_val++;
//    char uart_buf[20] ;
//    sprintf(uart_buf, "%u us\0\r\n", tim_val);
//    HAL_UART_Transmit(&huart7, uart_buf, sizeof(uart_buf), 100);

  }
  if(htim == &htim7){
	  hk_counter++;
	  if(hk_counter%30 == 0){ char uart_buf[20] ;
		  sprintf(uart_buf, "%u us\0\r\n", tim_val);
		  HAL_UART_Transmit(&huart7, uart_buf, sizeof(uart_buf), 100);
		  HK_IMU();

		  HAL_UART_Transmit(&huart7, "\n-----------------------------Collected HK DATA-----------n", sizeof("\n-----------------------------Collected HK DATA-----------n"), 100);
		  hk_counter=0;
		  RUN_ADC2();
		  tim_val = 0 ;
	  }

  }
}

void RUN_ADC2(){
	HAL_UART_Transmit(&huart7,"\n\n********************S2S ADC is starting ************\n", sizeof("********************S2S ADC is starting ************\n"),1000);

			ADC_Operate(adc_channels, adc1_channels);
			 ADC_Conv_Data(adc_conv_buf, adc_buf);
			for(int i =0; i<sizeof(adc_channels); i++)
			myprintf("%d | %d **", adc_channels[i],adc1_channels[i]);
			//		HK_IMU();
			HAL_Delay(10000);
			HAL_UART_Transmit(&huart7,"\n\n********************S2S ADC data collection complete ************\n", sizeof("********************S2S ADC data collection complete************\n"),1000);

}

void HAL_UART_RxCpltCallback(UART_HandleTypeDef *huart){
//			if(huart->Instance == &huart1)
			{
				printf("Data received on COM UART1\n");
				parse_command(&COM_RX_DATA,Lfs, File);

			    HAL_UART_Receive_DMA(&COM_uart, COM_RX_DATA, sizeof(COM_RX_DATA));
			}
		}
/* USER CODE END PFP */

int main(void)
{
  /* USER CODE BEGIN 1 */
	  char uart_buf[50];
	  int uart_buf_len;
  /* USER CODE END 1 */

  /* MCU Configuration--------------------------------------------------------*/

  /* Reset of all peripherals, Initializes the Flash interface and the Systick. */
  HAL_Init();

  /* Configure the system clock */
  SystemClock_Config();

  /* Initialize all configured peripherals */
  MX_GPIO_Init();
  MX_SPI3_Init();
  MX_UART7_Init();
  MX_USB_DEVICE_Init();
  MX_SPI4_Init();
  MX_ADC1_Init();
  MX_DMA_Init();
  MX_TIM6_Init();
  MX_ADC3_Init();
  MX_TIM7_Init();
  MX_ADC2_Init();
  MX_UART8_Init();
  MX_USART6_UART_Init();
  MX_USART3_UART_Init();
  MX_USART1_UART_Init();
  MX_SPI5_Init();
  MX_SPI2_Init();
  MX_USART2_UART_Init();
  /* USER CODE BEGIN 2 */
  HAL_GPIO_WritePin(GPIOH, GPIO_PIN_11, GPIO_PIN_RESET);
  HAL_Delay(500);

  HAL_GPIO_WritePin(GPIOH, GPIO_PIN_11, GPIO_PIN_SET);
        uint8_t HANDSHAKE[7] = {0x53,0xac,0x01,0x02,0x03,0x7e},ret_handshake[7]={'\0'};
        do{
        	HAL_Delay(1000);
     	   if(HAL_UART_Transmit(&COM_uart, HANDSHAKE, sizeof(HANDSHAKE),1000) == HAL_OK){
     		   if(HAL_UART_Receive(&COM_uart, ret_handshake, sizeof(ret_handshake), 1000) == HAL_OK)
     			   for(int i =0 ; i<sizeof(HANDSHAKE); i++){
     				   if(HANDSHAKE[i] != ret_handshake[i]){
     					   HANDSHAKE_STATUS =1 ;
     					   break;
     				   }
     				   else{
     					   HANDSHAKE_STATUS  = 2;
     				   }
     		   }
//     		   if(HANDSHAKE_STATUS == 2){
//     			   break;
//     		   }
     		   HAL_Delay(500);
     	   }
        }while(HANDSHAKE_STATUS == 1);
        myDebug("Handshake with COM successful.\n");

//        create_empty_files();

  HAL_TIM_Base_Start_IT(&htim6);
  HAL_TIM_Base_Start_IT(&htim7);
//  HAL_UART_Receive_DMA(&COM_uart, COM_RX_DATA, sizeof(COM_RX_DATA));

  HAL_UART_Transmit(&huart7,"********************S2S OBC is starting ************\n", sizeof("********************S2S OBC is starting ************\n"),1000);

//	while(1){
//		HAL_UART_Transmit(&huart7,"\n\n********************S2S ADC is starting ************\n", sizeof("********************S2S ADC is starting ************\n"),1000);
//
//		ADC_Operate(adc_channels, adc1_channels);
//		 ADC_Conv_Data(adc_conv_buf, adc_buf);
//		for(int i =0; i<sizeof(adc_channels); i++)
//		myprintf("%d | %d **", adc_channels[i],adc1_channels[i]);
//		//		HK_IMU();
//		HAL_Delay(10000);
//
//	}

 __init_storage();
 list_files(&Lfs);

//  char path[200];
// char txt[]="sangam is writing it manually";
//
//	__init_littefs();
 list_files_with_size(&Lfs, "/");
// 		  lfs_file_open(&Lfs, &File, "flags.txt", LFS_O_TRUNC  | LFS_O_CREAT );// |LFS_O_APPEND |LFS_O_APPEND
// 		  lfs_file_write(&Lfs, &File, &txt, sizeof(txt));
// 		  lfs_file_close(&Lfs, &File);
// read_file_from_littlefs(&Lfs, "satHealth.txt");
////  read_file_from_littlefs(&Lfs, "sat_health.txt");
// read_file_from_littlefs(&Lfs, "flags.txt");

 list_files_with_size(&Lfs, "/");
 truncate_text_file1(Lfs, File );
 uint8_t count=0;uint16_t timer_val;

  uint8_t command[30]={1,2,3,4,5,6,7,8,9,10,11,12,13,14,15,16,17,18,19,20,21,22,23,24,25,26,27,28,29};
  command[16]=0x01;
  command[17]=0xca;
  command[18]=0xd1;
  command[19]=0xf2;
  parse_command(command, Lfs, File );

  command[16]=0x01;
    command[17]=0x1d;
    command[18]=0xd1;
    command[19]=0xf2;
    parse_command(command, Lfs, File );

    command[16]=0x01;
      command[17]=0xee;
      command[18]=0xee;
      command[19]=0xee;
      parse_command(command, Lfs, File );

      command[16]=0x01;
        command[17]=0xee;
        command[18]=0xaa;
        command[19]=0xaa;
        parse_command(command, Lfs, File );

        command[16]=0x01;
          command[17]=0x1a;
          command[18]=0xe0;
          command[19]=0x1e;
          parse_command(command, Lfs, File );

          command[16]=0x02;
          command[17]=0xfd;
          command[18]=0xba;
          command[19]=0xd0;
          parse_command(command, Lfs, File );

          command[16]=0x03;
          command[17]=0x0e;
          command[18]=0x53;
          command[19]=0xce;
          parse_command(command, Lfs, File );

          command[16]=0x04;
          command[17]=0xcc;
          command[18]=0x5e;
          command[19]=0xbd;
          parse_command(command, Lfs, File );

          command[16]=0x05;
          command[17]=0xac;
          command[18]=0xcf;
          command[19]=0xcf;
          parse_command(command, Lfs, File );
  /* USER CODE END 2 */

  /* Infinite loop */
  /* USER CODE BEGIN WHILE */
  while (1)
  {
//	  if(HAL_UART_Receive(&huart2, COM_RX_DATA,30,1000)==HAL_OK){
//		  myprintf("Received data %s\n",COM_RX_DATA);
//	  }
	  catch = HAL_UART_Receive(&COM_uart, COM_RX_DATA,10,5000);
	  if(catch==HAL_OK){
			  myprintf("Received data %s\n",COM_RX_DATA);
		  }

    /* USER CODE END WHILE */

  }
}

void SystemClock_Config(void)
{
  RCC_OscInitTypeDef RCC_OscInitStruct = {0};
  RCC_ClkInitTypeDef RCC_ClkInitStruct = {0};

  /** Configure the main internal regulator output voltage
  */
  __HAL_RCC_PWR_CLK_ENABLE();
  __HAL_PWR_VOLTAGESCALING_CONFIG(PWR_REGULATOR_VOLTAGE_SCALE1);
  /** Initializes the RCC Oscillators according to the specified parameters
  * in the RCC_OscInitTypeDef structure.
  */
  RCC_OscInitStruct.OscillatorType = RCC_OSCILLATORTYPE_HSE;
  RCC_OscInitStruct.HSEState = RCC_HSE_ON;
  RCC_OscInitStruct.PLL.PLLState = RCC_PLL_ON;
  RCC_OscInitStruct.PLL.PLLSource = RCC_PLLSOURCE_HSE;
  RCC_OscInitStruct.PLL.PLLM = 12;
  RCC_OscInitStruct.PLL.PLLN = 168;
  RCC_OscInitStruct.PLL.PLLP = RCC_PLLP_DIV2;
  RCC_OscInitStruct.PLL.PLLQ = 7;
  if (HAL_RCC_OscConfig(&RCC_OscInitStruct) != HAL_OK)
  {
    Error_Handler();
  }
  /** Initializes the CPU, AHB and APB buses clocks
  */
  RCC_ClkInitStruct.ClockType = RCC_CLOCKTYPE_HCLK|RCC_CLOCKTYPE_SYSCLK
                              |RCC_CLOCKTYPE_PCLK1|RCC_CLOCKTYPE_PCLK2;
  RCC_ClkInitStruct.SYSCLKSource = RCC_SYSCLKSOURCE_PLLCLK;
  RCC_ClkInitStruct.AHBCLKDivider = RCC_SYSCLK_DIV1;
  RCC_ClkInitStruct.APB1CLKDivider = RCC_HCLK_DIV4;
  RCC_ClkInitStruct.APB2CLKDivider = RCC_HCLK_DIV2;

  if (HAL_RCC_ClockConfig(&RCC_ClkInitStruct, FLASH_LATENCY_5) != HAL_OK)
  {
    Error_Handler();
  }
}

void Error_Handler(void)
{
  __disable_irq();
  while (1)
  {
  }
}

/************************ (C) COPYRIGHT STMicroelectronics *****END OF FILE****/
